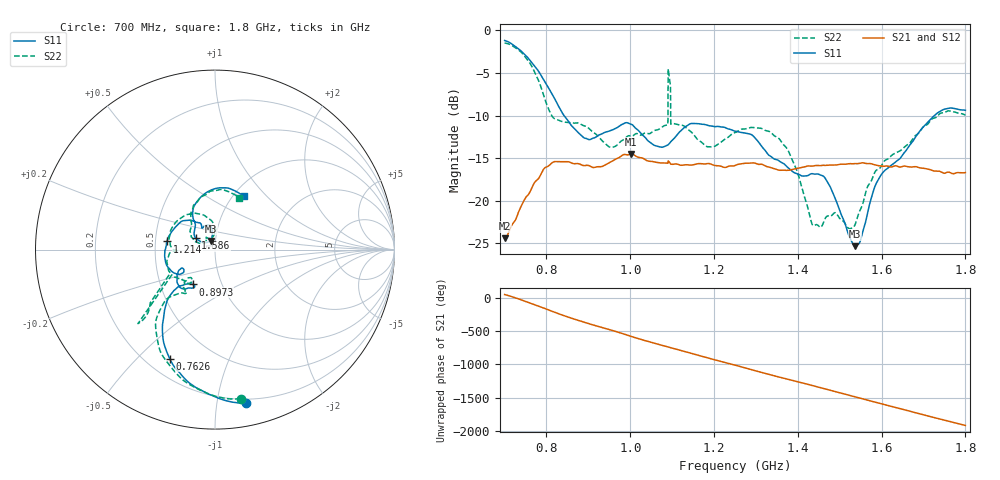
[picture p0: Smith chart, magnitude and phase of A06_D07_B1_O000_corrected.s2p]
! Created with skrf 1.9.0 (http://scikit-rf.org).
# Hz S RI R 50.0
!freq ReS11 ImS11 ReS21 ImS21 ReS12 ImS12 ReS22 ImS22
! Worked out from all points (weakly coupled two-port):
!   1601 points, 700 MHz to 1.8 GHz, reference 50 ohm
!   highest |S21| = -14.53 dB at 1.002 GHz (marker M1); lowest = -24.4 dB at 701.4 MHz (marker M2)
!   lowest |S11| = -25.4 dB at 1.537 GHz (marker M3), VSWR 1.11, Z = 47.4 + j4.55 ohm
!   |S11| at or under -10 dB: 841.7 MHz to 1.726 GHz (884.4 MHz wide, 68.9 % of centre)
!   |S22| runs from -23.3 to -1.5 dB; largest |S21 - S12| = 0.0036
!   S11 on the Smith chart (normalised r, x): 700 MHz: 0.17, -1.21; 762.6 MHz: 0.29, -0.63; 897.3 MHz: 0.73, -0.30; 1.214 GHz: 0.58, +0.06; 1.586 GHz: 0.80, +0.10; 1.8 GHz: 1.12, +0.75
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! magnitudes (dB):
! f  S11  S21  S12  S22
! 700 MHz  -1.2  -24.4  -24.2  -1.5
! 701.4 MHz  -1.2  -24.4  -24.0  -1.5
! 762.6 MHz  -3.6  -18.8  -18.7  -4.0
! 815.5 MHz  -7.7  -15.5  -15.6  -10.2
! 883.6 MHz  -12.3  -15.8  -15.7  -11.1
! 897.3 MHz  -12.7  -15.9  -15.9  -11.4
! 953 MHz  -11.8  -15.5  -15.5  -13.7
! 1.002 GHz  -11.0  -14.5  -14.6  -12.4
! 1.067 GHz  -13.6  -15.5  -15.5  -11.6
! 1.084 GHz  -13.6  -15.6  -15.6  -11.2
! 1.096 GHz  -13.1  -15.6  -15.7  -6.6
! 1.102 GHz  -12.8  -15.7  -15.7  -11.0
! 1.214 GHz  -11.3  -15.9  -15.9  -13.2
! 1.25 GHz  -11.8  -15.9  -15.8  -12.0
! 1.357 GHz  -15.4  -16.4  -16.4  -12.8
! 1.434 GHz  -16.8  -15.9  -15.9  -22.7
! 1.47 GHz  -17.8  -15.9  -15.8  -21.8
! 1.537 GHz  -25.4  -15.6  -15.7  -22.8
! 1.586 GHz  -18.1  -15.8  -15.8  -16.5
! 1.617 GHz  -16.1  -16.0  -15.9  -15.0
! 1.733 GHz  -9.7  -16.5  -16.6  -10.1
! 1.8 GHz  -9.4  -16.7  -16.7  -9.9
